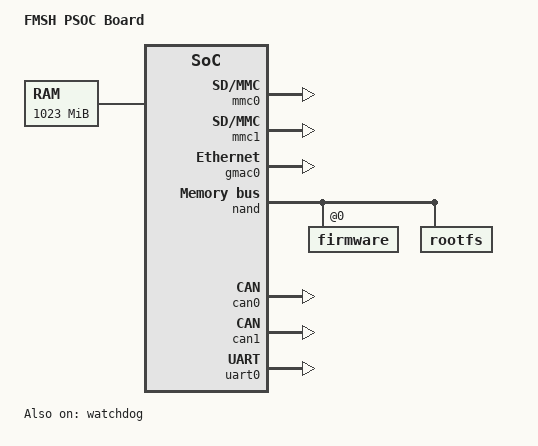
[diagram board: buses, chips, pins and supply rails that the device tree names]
/*
 * FMSH PSOC board DTS
 * Child board A NAND_CAN_SD
 *
 * Copyright (C) 2018 FMSH, Inc.
 *
 * SPDX-License-Identifier:	GPL-2.0+
 */

#include "fmsh-psoc.dtsi"

/ {
	model = "FMSH PSOC Board";
	compatible = "fmsh,fmsh-psoc";

	memory {
		device_type = "memory";
		reg = <0x00100000 0x3ff00000>;
	};

	chosen {
		bootargs = "console=ttyPS0,115200 earlyprintk loglevel=8 root=/dev/ram rw";
		/* bootloader will place initrd at this address */
		linux,initrd-start = <0x12000000>;
		linux,initrd-end = <0x13000000>;
	};

        aliases {
              serial0 = &uart0;
              serial1 = &uart1;
        };
};

&mmc0 {
	status = "okay";
//	clock-freq-min-max = <400000 400000>;
};

&mmc1 {
	status = "okay";
//	clock-freq-min-max = <400000 400000>;
};

&gmac0 {
	status = "okay";
};

&nand {
	status = "okay";

	firmware@0 {
		label = "firmware";
		reg = <0 0x2000000>;
	};
	rootfs@2000000 {
		label ="rootfs";
		reg = <0x2000000 0x7b00000>;
	};
};

&can0 {
	status = "okay";
};

&can1 {
	status = "okay";
};

&uart0 {
	status = "okay";
};

&watchdog {
	status = "okay";
};

&gpio0 {
	status = "okay";
};

&gpio1 {
	status = "okay";
};

&gpio2 {
	status = "okay";
};

&gpio3 {
	status = "okay";
};

